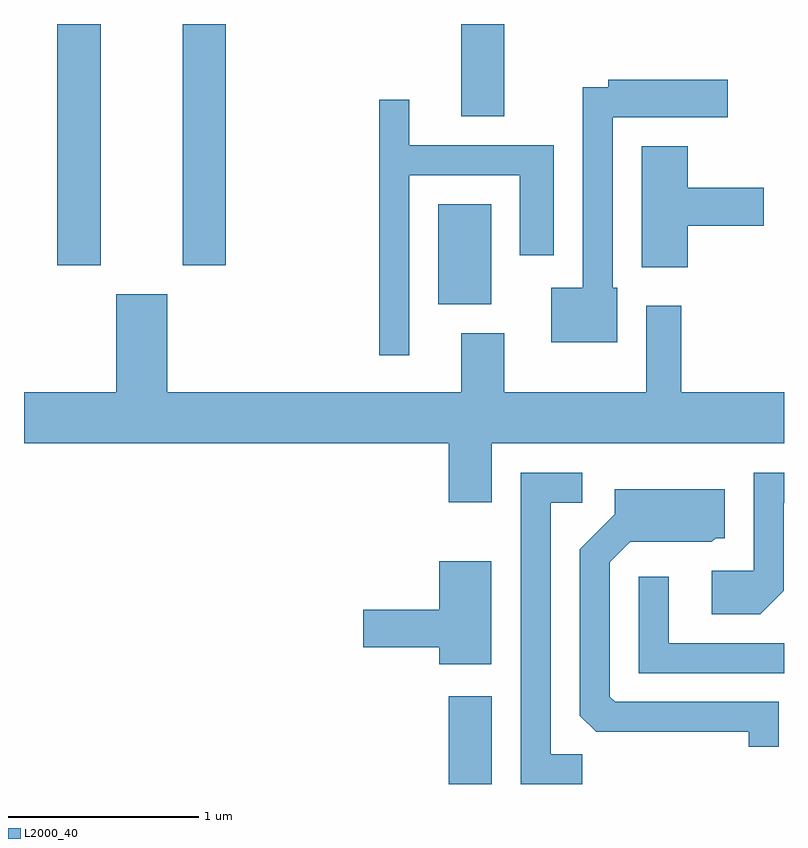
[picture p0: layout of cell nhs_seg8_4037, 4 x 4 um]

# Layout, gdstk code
import gdstk
lib = gdstk.Library(unit=1e-6, precision=1e-09)
def R(c, l, rs):  # rectangles x0, y0, x1, y1
    for r in rs: c.add(gdstk.rectangle(r[:2], r[2:], *l))
def P(c, l, *ps):  # polygons
    for p in ps: c.add(gdstk.Polygon(p, *l))
L2000_40 = (2000, 40)

nhs_seg8_4037 = lib.new_cell('nhs_seg8_4037')
R(nhs_seg8_4037, L2000_40, [(307.846,1892.342,308.074,1892.804), (307.791,1894.866,308.069,1895.394), (305.786,1895.071,306.014,1896.342), (306.446,1895.071,306.674,1896.342), (307.911,1895.856,308.139,1896.342)])
P(nhs_seg8_4037, L2000_40, [(308.734,1894.954),(308.709,1894.954),(308.709,1895.851),(309.314,1895.851),(309.314,1896.049),(308.686,1896.049),(308.686,1896.009),(308.551,1896.009),(308.551,1894.954),(308.386,1894.954),(308.386,1894.666),(308.734,1894.666)],
  [(307.639,1895.546),(308.221,1895.546),(308.221,1895.126),(308.399,1895.126),(308.399,1895.704),(307.639,1895.704),(307.639,1895.943),(307.481,1895.943),(307.481,1894.598),(307.639,1894.598)],
  [(309.104,1895.281),(309.504,1895.281),(309.504,1895.479),(309.104,1895.479),(309.104,1895.699),(308.861,1895.699),(308.861,1895.061),(309.104,1895.061)],
  [(308.074,1894.136),(309.611,1894.136),(309.611,1894.404),(309.069,1894.404),(309.069,1894.859),(308.886,1894.859),(308.886,1894.404),(308.139,1894.404),(308.139,1894.714),(307.911,1894.714),(307.911,1894.404),(306.364,1894.404),(306.364,1894.919),(306.096,1894.919),(306.096,1894.404),(305.611,1894.404),(305.611,1894.136),(307.846,1894.136),(307.846,1893.826),(308.074,1893.826)],
  [(308.548,1892.499),(308.384,1892.499),(308.384,1893.821),(308.548,1893.821),(308.548,1893.979),(308.226,1893.979),(308.226,1892.342),(308.548,1892.342)],
  [(309.609,1893.359),(309.609,1893.821),(309.611,1893.821),(309.611,1893.979),(309.451,1893.979),(309.451,1893.464),(309.231,1893.464),(309.231,1893.236),(309.487,1893.236)],
  [(309.584,1892.774),(308.722,1892.774),(308.694,1892.802),(308.694,1893.509),(308.802,1893.616),(309.232,1893.616),(309.252,1893.636),(309.299,1893.636),(309.299,1893.894),(308.721,1893.894),(308.721,1893.762),(308.536,1893.577),(308.536,1892.702),(308.622,1892.616),(309.426,1892.616),(309.426,1892.538),(309.584,1892.538)],
  [(308.069,1893.514),(307.796,1893.514),(307.796,1893.259),(307.396,1893.259),(307.396,1893.061),(307.796,1893.061),(307.796,1892.971),(308.069,1892.971)],
  [(309.611,1893.084),(309.004,1893.084),(309.004,1893.433),(308.846,1893.433),(308.846,1892.926),(309.611,1892.926)])

lib.write_gds('nhs_seg8_4037.gds')
